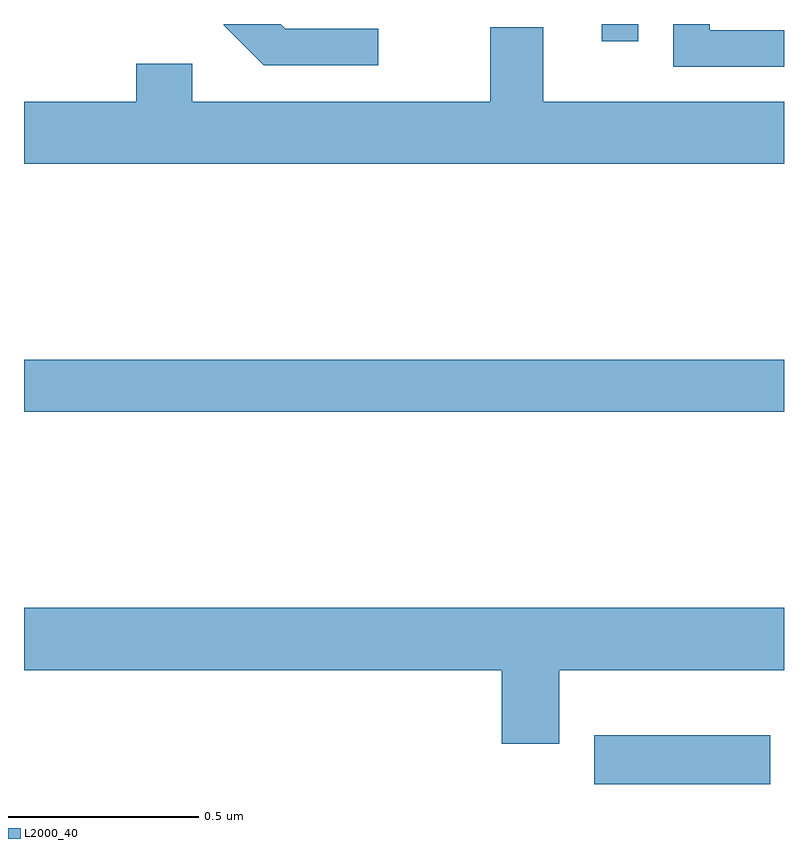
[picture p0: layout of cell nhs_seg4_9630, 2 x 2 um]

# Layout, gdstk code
import gdstk
lib = gdstk.Library(unit=1e-6, precision=1e-09)
def R(c, l, rs):  # rectangles x0, y0, x1, y1
    for r in rs: c.add(gdstk.rectangle(r[:2], r[2:], *l))
def P(c, l, *ps):  # polygons
    for p in ps: c.add(gdstk.Polygon(p, *l))
L2000_40 = (2000, 40)

nhs_seg4_9630 = lib.new_cell('nhs_seg4_9630')
R(nhs_seg4_9630, L2000_40, [(231.5,749.9,231.964,750.028), (230,750.88,232,751.016), (231.521,751.854,231.617,751.9)])
P(nhs_seg4_9630, L2000_40, [(232,751.884),(231.804,751.884),(231.804,751.9),(231.708,751.9),(231.708,751.788),(232,751.788)],
  [(230.932,751.887),(230.688,751.887),(230.675,751.9),(230.526,751.9),(230.526,751.897),(230.631,751.791),(230.932,751.791)],
  [(232,751.696),(231.367,751.696),(231.367,751.891),(231.227,751.891),(231.227,751.696),(230.443,751.696),(230.443,751.795),(230.296,751.795),(230.296,751.696),(230,751.696),(230,751.532),(232,751.532)],
  [(231.409,750.2),(232,750.2),(232,750.364),(230,750.364),(230,750.2),(231.257,750.2),(231.257,750.006),(231.409,750.006)])

lib.write_gds('nhs_seg4_9630.gds')
